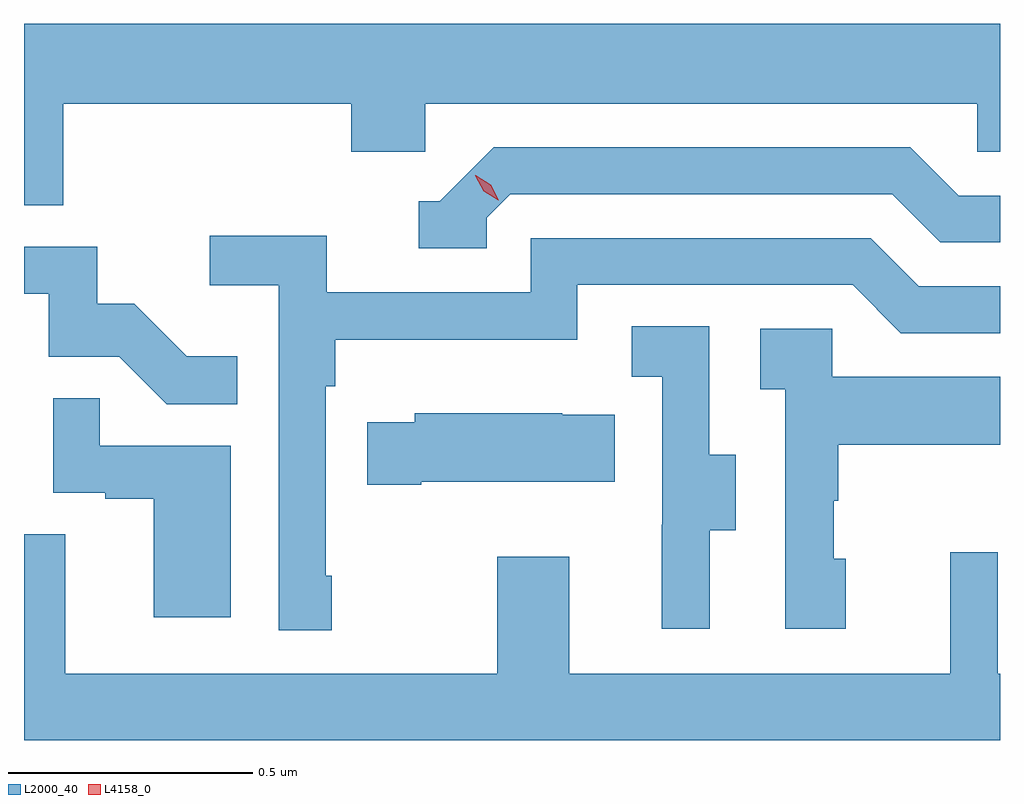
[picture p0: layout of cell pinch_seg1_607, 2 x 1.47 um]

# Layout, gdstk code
import gdstk
lib = gdstk.Library(unit=1e-6, precision=1e-09)
def P(c, l, *ps):  # polygons
    for p in ps: c.add(gdstk.Polygon(p, *l))
L2000_40 = (2000, 40)
L4158_0 = (4158, 0)

pinch_seg1_607 = lib.new_cell('pinch_seg1_607')
P(pinch_seg1_607, L2000_40, [(1040.948,511.772),(1041.539,511.772),(1041.539,511.674),(1041.69,511.674),(1041.69,511.772),(1042.821,511.772),(1042.821,511.674),(1042.868,511.674),(1042.868,511.936),(1040.868,511.936),(1040.868,511.564),(1040.948,511.564)],
  [(1041.816,511.539),(1041.864,511.587),(1042.647,511.587),(1042.746,511.488),(1042.868,511.488),(1042.868,511.584),(1042.783,511.584),(1042.684,511.683),(1041.831,511.683),(1041.72,511.572),(1041.677,511.572),(1041.677,511.476),(1041.816,511.476)],
  [(1041.499,510.805),(1041.486,510.805),(1041.486,511.193),(1041.506,511.193),(1041.506,511.289),(1042.002,511.289),(1042.002,511.401),(1042.566,511.401),(1042.665,511.302),(1042.868,511.302),(1042.868,511.398),(1042.702,511.398),(1042.603,511.497),(1041.906,511.497),(1041.906,511.386),(1041.488,511.386),(1041.488,511.502),(1041.249,511.502),(1041.249,511.4),(1041.39,511.4),(1041.39,510.693),(1041.499,510.693)],
  [(1041.305,511.255),(1041.201,511.255),(1041.094,511.362),(1041.018,511.362),(1041.018,511.479),(1040.868,511.479),(1040.868,511.383),(1040.919,511.383),(1040.919,511.254),(1041.063,511.254),(1041.161,511.156),(1041.305,511.156)],
  [(1042.273,510.898),(1042.327,510.898),(1042.327,511.053),(1042.272,511.053),(1042.272,511.316),(1042.113,511.316),(1042.113,511.213),(1042.176,511.213),(1042.176,510.909),(1042.175,510.909),(1042.175,510.696),(1042.273,510.696)],
  [(1042.552,510.84),(1042.527,510.84),(1042.527,510.959),(1042.537,510.959),(1042.537,511.073),(1042.868,511.073),(1042.868,511.213),(1042.524,511.213),(1042.524,511.311),(1042.377,511.311),(1042.377,511.187),(1042.428,511.187),(1042.428,510.696),(1042.552,510.696)],
  [(1041.292,511.071),(1041.023,511.071),(1041.023,511.169),(1040.928,511.169),(1040.928,510.975),(1041.035,510.975),(1041.035,510.963),(1041.134,510.963),(1041.134,510.72),(1041.292,510.72)],
  [(1041.682,510.998),(1042.079,510.998),(1042.079,511.135),(1041.971,511.135),(1041.971,511.138),(1041.669,511.138),(1041.669,511.12),(1041.571,511.12),(1041.571,510.991),(1041.682,510.991)],
  [(1042.868,510.604),(1042.863,510.604),(1042.863,510.853),(1042.766,510.853),(1042.766,510.604),(1041.985,510.604),(1041.985,510.844),(1041.838,510.844),(1041.838,510.604),(1040.953,510.604),(1040.953,510.89),(1040.868,510.89),(1040.868,510.468),(1042.868,510.468)])
P(pinch_seg1_607, L4158_0, [(1041.84,511.574),(1041.81,511.593),(1041.793,511.625),(1041.793,511.626),(1041.794,511.626),(1041.824,511.606),(1041.841,511.574),(1041.841,511.574)])

lib.write_gds('pinch_seg1_607.gds')
